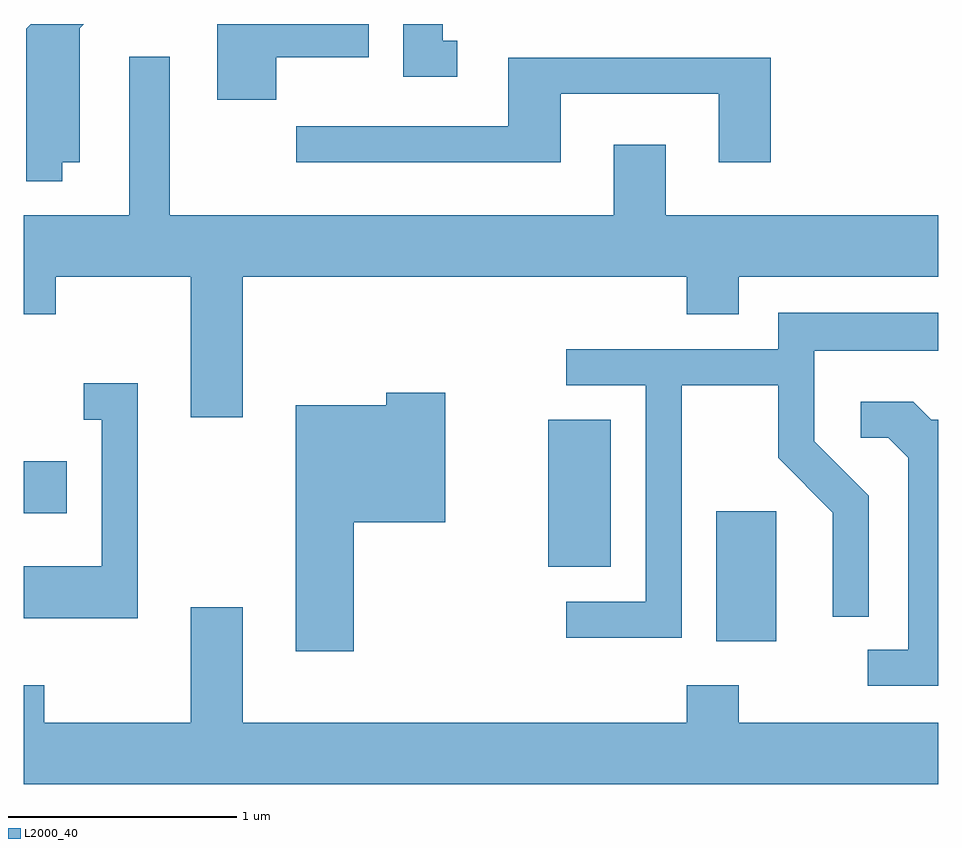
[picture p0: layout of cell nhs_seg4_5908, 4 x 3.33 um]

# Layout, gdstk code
import gdstk
lib = gdstk.Library(unit=1e-6, precision=1e-09)
def R(c, l, rs):  # rectangles x0, y0, x1, y1
    for r in rs: c.add(gdstk.rectangle(r[:2], r[2:], *l))
def P(c, l, *ps):  # polygons
    for p in ps: c.add(gdstk.Polygon(p, *l))
L2000_40 = (2000, 40)

nhs_seg4_5908 = lib.new_cell('nhs_seg4_5908')
R(nhs_seg4_5908, L2000_40, [(360.641,1375.281,360.904,1375.849), (359.906,1375.606,360.179,1376.249), (357.611,1375.841,357.799,1376.069)])
P(nhs_seg4_5908, L2000_40, [(357.779,1377.376),(357.854,1377.376),(357.854,1377.964),(357.872,1377.982),(357.641,1377.982),(357.621,1377.962),(357.621,1377.293),(357.779,1377.293)],
  [(358.714,1377.836),(359.119,1377.836),(359.119,1377.982),(358.456,1377.982),(358.456,1377.651),(358.714,1377.651)],
  [(359.508,1377.909),(359.444,1377.909),(359.444,1377.982),(359.271,1377.982),(359.271,1377.751),(359.508,1377.751)],
  [(358.341,1376.261),(358.569,1376.261),(358.569,1376.876),(360.511,1376.876),(360.511,1376.711),(360.739,1376.711),(360.739,1376.876),(361.611,1376.876),(361.611,1377.144),(360.419,1377.144),(360.419,1377.454),(360.191,1377.454),(360.191,1377.144),(358.249,1377.144),(358.249,1377.839),(358.071,1377.839),(358.071,1377.144),(357.611,1377.144),(357.611,1376.711),(357.749,1376.711),(357.749,1376.876),(358.341,1376.876)],
  [(359.959,1377.676),(360.651,1377.676),(360.651,1377.376),(360.879,1377.376),(360.879,1377.834),(359.731,1377.834),(359.731,1377.534),(358.803,1377.534),(358.803,1377.376),(359.959,1377.376)],
  [(360.489,1376.401),(360.911,1376.401),(360.911,1376.084),(361.151,1375.844),(361.151,1375.388),(361.309,1375.388),(361.309,1375.917),(361.069,1376.157),(361.069,1376.551),(361.611,1376.551),(361.611,1376.719),(360.911,1376.719),(360.911,1376.559),(359.983,1376.559),(359.983,1376.401),(360.331,1376.401),(360.331,1375.454),(359.983,1375.454),(359.983,1375.296),(360.489,1375.296)],
  [(358.109,1376.409),(357.873,1376.409),(357.873,1376.251),(357.951,1376.251),(357.951,1375.609),(357.611,1375.609),(357.611,1375.381),(358.109,1375.381)],
  [(359.054,1375.801),(359.454,1375.801),(359.454,1376.369),(359.196,1376.369),(359.196,1376.314),(358.801,1376.314),(358.801,1375.236),(359.054,1375.236)],
  [(361.611,1376.249),(361.582,1376.249),(361.502,1376.329),(361.273,1376.329),(361.273,1376.171),(361.394,1376.171),(361.481,1376.084),(361.481,1375.244),(361.303,1375.244),(361.303,1375.086),(361.611,1375.086)],
  [(361.611,1374.924),(360.739,1374.924),(360.739,1375.089),(360.511,1375.089),(360.511,1374.924),(358.569,1374.924),(358.569,1375.429),(358.341,1375.429),(358.341,1374.924),(357.699,1374.924),(357.699,1375.089),(357.611,1375.089),(357.611,1374.656),(361.611,1374.656)])

lib.write_gds('nhs_seg4_5908.gds')
